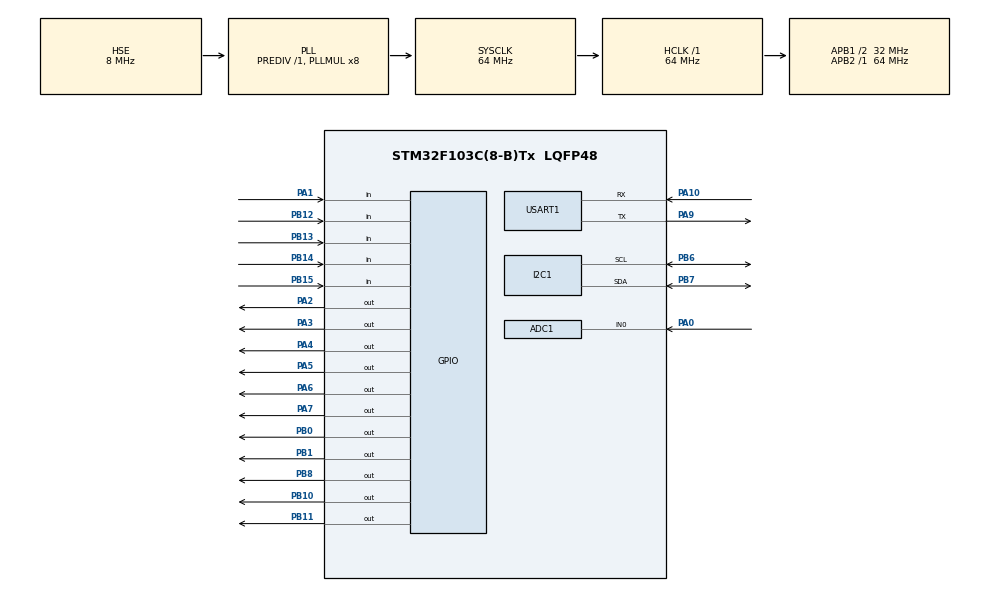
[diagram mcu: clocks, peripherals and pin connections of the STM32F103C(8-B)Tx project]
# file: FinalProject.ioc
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ADC1.Channel-0\#ChannelRegularConversion=ADC_CHANNEL_0
ADC1.NbrOfConversion=1
ADC1.NbrOfConversionFlag=1
ADC1.Rank-0\#ChannelRegularConversion=1
ADC1.SamplingTime-0\#ChannelRegularConversion=ADC_SAMPLETIME_71CYCLES_5
ADC1.master=1
Mcu.Family=STM32F1
Mcu.Name=STM32F103C(8-B)Tx
Mcu.Package=LQFP48
NVIC.PriorityGroup=NVIC_PRIORITYGROUP_4
PA0-WKUP.Signal=ADCx_IN0
PA1.GPIO_PuPd=GPIO_PULLUP
PA1.Signal=GPIO_Input
PA10.Mode=Asynchronous
PA10.Signal=USART1_RX
PA13.Mode=Serial_Wire
PA13.Signal=SYS_JTMS-SWDIO
PA14.Mode=Serial_Wire
PA14.Signal=SYS_JTCK-SWCLK
PA2.GPIO_ModeDefaultOutputPP=GPIO_MODE_OUTPUT_PP
PA2.GPIO_PuPd=GPIO_NOPULL
PA2.Signal=GPIO_Output
PA3.Signal=GPIO_Output
PA4.Signal=GPIO_Output
PA5.Signal=GPIO_Output
PA6.Signal=GPIO_Output
PA7.Signal=GPIO_Output
PA9.Mode=Asynchronous
PA9.Signal=USART1_TX
PB0.Signal=GPIO_Output
PB1.Signal=GPIO_Output
PB10.Signal=GPIO_Output
PB11.Signal=GPIO_Output
PB12.GPIO_PuPd=GPIO_PULLUP
PB12.Signal=GPIO_Input
PB13.GPIO_PuPd=GPIO_PULLUP
PB13.Signal=GPIO_Input
PB14.GPIO_PuPd=GPIO_PULLUP
PB14.Signal=GPIO_Input
PB15.GPIO_PuPd=GPIO_PULLUP
PB15.Signal=GPIO_Input
PB6.Mode=I2C
PB6.Signal=I2C1_SCL
PB7.Mode=I2C
PB7.Signal=I2C1_SDA
PB8.Signal=GPIO_Output
PD0-OSC_IN.Mode=HSE-External-Oscillator
PD0-OSC_IN.Signal=RCC_OSC_IN
PD1-OSC_OUT.Mode=HSE-External-Oscillator
PD1-OSC_OUT.Signal=RCC_OSC_OUT
ProjectManager.HeapSize=0x200
ProjectManager.StackSize=0x400
ProjectManager.TargetToolchain=STM32CubeIDE
RCC.ADCPresc=RCC_ADCPCLK2_DIV6
RCC.AHBFreq_Value=64000000
RCC.APB1CLKDivider=RCC_HCLK_DIV2
RCC.APB1Freq_Value=32000000
RCC.APB1TimFreq_Value=64000000
RCC.APB2Freq_Value=64000000
RCC.APB2TimFreq_Value=64000000
RCC.HCLKFreq_Value=64000000
RCC.PLLMUL=RCC_PLL_MUL8
RCC.PLLSourceVirtual=RCC_PLLSOURCE_HSE
RCC.SYSCLKFreq_VALUE=64000000
RCC.SYSCLKSource=RCC_SYSCLKSOURCE_PLLCLK
RCC.USBFreq_Value=64000000
SH.ADCx_IN0.0=ADC1_IN0,IN0
TIM2.Prescaler=71
USART1.VirtualMode=VM_ASYNC
VP_TIM2_VS_ClockSourceINT.Mode=Internal
board=custom

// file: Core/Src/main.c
/* USER CODE BEGIN Header */
/**
 ******************************************************************************
 * @file           : main.c
 * @brief          : Main program body - Smart clothes drying rack
 ******************************************************************************
 */
/* USER CODE END Header */
#include "main.h"

/* USER CODE BEGIN Includes */
#include "system_state.h"
#include "sensor1.h"
#include "stepper.h"
#include "actuator.h"
#include "logic.h"
#include "keypad1.h"
#include "display1.h"
#include "lcd_i2c.h"
#include "uart_cli.h"
/* USER CODE END Includes */

ADC_HandleTypeDef hadc1;

I2C_HandleTypeDef hi2c1;

TIM_HandleTypeDef htim2;

UART_HandleTypeDef huart1;

void SystemClock_Config(void);
static void MX_GPIO_Init(void);
static void MX_I2C1_Init(void);
static void MX_TIM2_Init(void);
static void MX_ADC1_Init(void);
static void MX_USART1_UART_Init(void);

int main(void)
{

  /* MCU Configuration--------------------------------------------------------*/

  /* Reset of all peripherals, Initializes the Flash interface and the Systick. */
  HAL_Init();

  /* Configure the system clock */
  SystemClock_Config();

  /* Initialize all configured peripherals */
  MX_GPIO_Init();
  MX_I2C1_Init();
  MX_TIM2_Init();
  MX_ADC1_Init();
  MX_USART1_UART_Init();
  /* USER CODE BEGIN 2 */
  HAL_TIM_Base_Start(&htim2);
  lcd_init();
  	lcd_clear();

  	lcd_put_cur(0, 0);
  	lcd_send_string("SMART DRY RACK");
  	lcd_put_cur(1, 0);
  	lcd_send_string("SYSTEM READY");
  	HAL_Delay(1000);
  	lcd_clear();
  	 UART_CLI_Init();
  /* USER CODE END 2 */

  /* Infinite loop */
  while (1)
  {

    /* USER CODE BEGIN 3 */
	  /* 1. Bàn phím vật lý — quét liên tục */
	          Keypad_Handle();

	          /* 2. Nhận và xử lý lệnh từ PuTTY — non-blocking */
//	          UART_CLI_HandleRx();

	          /* 3. Điều khiển động cơ bước — non-blocking, edge detection */
	          {
	              uint8_t prev_busy = Stepper_IsBusy();
	              Stepper_Run();

	              if (prev_busy && !Stepper_IsBusy())
	              {
	                  currentState = targetState;
	              }

	              if (!Stepper_IsBusy() && currentState != targetState)
	              {
	                  int dir = (targetState == STATE_THU) ? 1 : -1;
	                  Stepper_Start(STEPPER_STEPS, dir);
	              }
	          }

	          /* 4. Cập nhật cảm biến, logic, LCD, UART mỗi 1 giây */
	          if (HAL_GetTick() - lastUpdate > 1000U)
	          {
	              lastUpdate = HAL_GetTick();

	              Sensor_ReadDHT11(&temp, &humi);
	              adcValue       = Sensor_ReadLDR();
	              last_isBright  = (adcValue < LIGHT_THRESHOLD) ? 1U : 0U;
	              last_isRaining = Sensor_RainDetect();

	              Logic_UpdateRackState(last_isRaining, last_isBright, humi);
	              Logic_HandleFanAuto(last_isRaining);

	              Actuator_HandleBuzzer(last_isRaining);

	              Display_Update(last_isRaining, last_isBright);

	              /* Cập nhật dashboard PuTTY cùng chu kỳ 1 giây */
	              UART_CLI_Update();
	          }

  }
  /* USER CODE END 3 */
}

void SystemClock_Config(void)
{
  RCC_OscInitTypeDef RCC_OscInitStruct = {0};
  RCC_ClkInitTypeDef RCC_ClkInitStruct = {0};
  RCC_PeriphCLKInitTypeDef PeriphClkInit = {0};

  /** Initializes the RCC Oscillators according to the specified parameters
  * in the RCC_OscInitTypeDef structure.
  */
  RCC_OscInitStruct.OscillatorType = RCC_OSCILLATORTYPE_HSE;
  RCC_OscInitStruct.HSEState = RCC_HSE_ON;
  RCC_OscInitStruct.HSEPredivValue = RCC_HSE_PREDIV_DIV1;
  RCC_OscInitStruct.HSIState = RCC_HSI_ON;
  RCC_OscInitStruct.PLL.PLLState = RCC_PLL_ON;
  RCC_OscInitStruct.PLL.PLLSource = RCC_PLLSOURCE_HSE;
  RCC_OscInitStruct.PLL.PLLMUL = RCC_PLL_MUL8;
  if (HAL_RCC_OscConfig(&RCC_OscInitStruct) != HAL_OK)
  {
    Error_Handler();
  }
  /** Initializes the CPU, AHB and APB buses clocks
  */
  RCC_ClkInitStruct.ClockType = RCC_CLOCKTYPE_HCLK|RCC_CLOCKTYPE_SYSCLK
                              |RCC_CLOCKTYPE_PCLK1|RCC_CLOCKTYPE_PCLK2;
  RCC_ClkInitStruct.SYSCLKSource = RCC_SYSCLKSOURCE_PLLCLK;
  RCC_ClkInitStruct.AHBCLKDivider = RCC_SYSCLK_DIV1;
  RCC_ClkInitStruct.APB1CLKDivider = RCC_HCLK_DIV2;
  RCC_ClkInitStruct.APB2CLKDivider = RCC_HCLK_DIV1;

  if (HAL_RCC_ClockConfig(&RCC_ClkInitStruct, FLASH_LATENCY_2) != HAL_OK)
  {
    Error_Handler();
  }
  PeriphClkInit.PeriphClockSelection = RCC_PERIPHCLK_ADC;
  PeriphClkInit.AdcClockSelection = RCC_ADCPCLK2_DIV6;
  if (HAL_RCCEx_PeriphCLKConfig(&PeriphClkInit) != HAL_OK)
  {
    Error_Handler();
  }
}

static void MX_ADC1_Init(void)
{

  ADC_ChannelConfTypeDef sConfig = {0};

  /** Common config
  */
  hadc1.Instance = ADC1;
  hadc1.Init.ScanConvMode = ADC_SCAN_DISABLE;
  hadc1.Init.ContinuousConvMode = DISABLE;
  hadc1.Init.DiscontinuousConvMode = DISABLE;
  hadc1.Init.ExternalTrigConv = ADC_SOFTWARE_START;
  hadc1.Init.DataAlign = ADC_DATAALIGN_RIGHT;
  hadc1.Init.NbrOfConversion = 1;
  if (HAL_ADC_Init(&hadc1) != HAL_OK)
  {
    Error_Handler();
  }
  /** Configure Regular Channel
  */
  sConfig.Channel = ADC_CHANNEL_0;
  sConfig.Rank = ADC_REGULAR_RANK_1;
  sConfig.SamplingTime = ADC_SAMPLETIME_71CYCLES_5;
  if (HAL_ADC_ConfigChannel(&hadc1, &sConfig) != HAL_OK)
  {
    Error_Handler();
  }

}

static void MX_I2C1_Init(void)
{

  hi2c1.Instance = I2C1;
  hi2c1.Init.ClockSpeed = 100000;
  hi2c1.Init.DutyCycle = I2C_DUTYCYCLE_2;
  hi2c1.Init.OwnAddress1 = 0;
  hi2c1.Init.AddressingMode = I2C_ADDRESSINGMODE_7BIT;
  hi2c1.Init.DualAddressMode = I2C_DUALADDRESS_DISABLE;
  hi2c1.Init.OwnAddress2 = 0;
  hi2c1.Init.GeneralCallMode = I2C_GENERALCALL_DISABLE;
  hi2c1.Init.NoStretchMode = I2C_NOSTRETCH_DISABLE;
  if (HAL_I2C_Init(&hi2c1) != HAL_OK)
  {
    Error_Handler();
  }

}

static void MX_TIM2_Init(void)
{

  TIM_ClockConfigTypeDef sClockSourceConfig = {0};
  TIM_MasterConfigTypeDef sMasterConfig = {0};

  htim2.Instance = TIM2;
  htim2.Init.Prescaler = 71;
  htim2.Init.CounterMode = TIM_COUNTERMODE_UP;
  htim2.Init.Period = 65535;
  htim2.Init.ClockDivision = TIM_CLOCKDIVISION_DIV1;
  htim2.Init.AutoReloadPreload = TIM_AUTORELOAD_PRELOAD_DISABLE;
  if (HAL_TIM_Base_Init(&htim2) != HAL_OK)
  {
    Error_Handler();
  }
  sClockSourceConfig.ClockSource = TIM_CLOCKSOURCE_INTERNAL;
  if (HAL_TIM_ConfigClockSource(&htim2, &sClockSourceConfig) != HAL_OK)
  {
    Error_Handler();
  }
  sMasterConfig.MasterOutputTrigger = TIM_TRGO_RESET;
  sMasterConfig.MasterSlaveMode = TIM_MASTERSLAVEMODE_DISABLE;
  if (HAL_TIMEx_MasterConfigSynchronization(&htim2, &sMasterConfig) != HAL_OK)
  {
    Error_Handler();
  }

}

static void MX_USART1_UART_Init(void)
{

  huart1.Instance = USART1;
  huart1.Init.BaudRate = 115200;
  huart1.Init.WordLength = UART_WORDLENGTH_8B;
  huart1.Init.StopBits = UART_STOPBITS_1;
  huart1.Init.Parity = UART_PARITY_NONE;
  huart1.Init.Mode = UART_MODE_TX_RX;
  huart1.Init.HwFlowCtl = UART_HWCONTROL_NONE;
  huart1.Init.OverSampling = UART_OVERSAMPLING_16;
  if (HAL_UART_Init(&huart1) != HAL_OK)
  {
    Error_Handler();
  }

}

static void MX_GPIO_Init(void)
{
  GPIO_InitTypeDef GPIO_InitStruct = {0};

  /* GPIO Ports Clock Enable */
  __HAL_RCC_GPIOD_CLK_ENABLE();
  __HAL_RCC_GPIOA_CLK_ENABLE();
  __HAL_RCC_GPIOB_CLK_ENABLE();

  /*Configure GPIO pin Output Level */
  HAL_GPIO_WritePin(GPIOA, GPIO_PIN_2|GPIO_PIN_3|GPIO_PIN_4|GPIO_PIN_5
                          |GPIO_PIN_6|GPIO_PIN_7, GPIO_PIN_RESET);

  /*Configure GPIO pin Output Level */
  HAL_GPIO_WritePin(GPIOB, GPIO_PIN_0|GPIO_PIN_1|GPIO_PIN_10|GPIO_PIN_11
                          |GPIO_PIN_8, GPIO_PIN_RESET);

  /*Configure GPIO pin : PA1 */
  GPIO_InitStruct.Pin = GPIO_PIN_1;
  GPIO_InitStruct.Mode = GPIO_MODE_INPUT;
  GPIO_InitStruct.Pull = GPIO_PULLUP;
  HAL_GPIO_Init(GPIOA, &GPIO_InitStruct);

  /*Configure GPIO pins : PA2 PA3 PA4 PA5
                           PA6 PA7 */
  GPIO_InitStruct.Pin = GPIO_PIN_2|GPIO_PIN_3|GPIO_PIN_4|GPIO_PIN_5
                          |GPIO_PIN_6|GPIO_PIN_7;
  GPIO_InitStruct.Mode = GPIO_MODE_OUTPUT_PP;
  GPIO_InitStruct.Pull = GPIO_NOPULL;
  GPIO_InitStruct.Speed = GPIO_SPEED_FREQ_LOW;
  HAL_GPIO_Init(GPIOA, &GPIO_InitStruct);

  /*Configure GPIO pins : PB0 PB1 PB10 PB11
                           PB8 */
  GPIO_InitStruct.Pin = GPIO_PIN_0|GPIO_PIN_1|GPIO_PIN_10|GPIO_PIN_11
                          |GPIO_PIN_8;
  GPIO_InitStruct.Mode = GPIO_MODE_OUTPUT_PP;
  GPIO_InitStruct.Pull = GPIO_NOPULL;
  GPIO_InitStruct.Speed = GPIO_SPEED_FREQ_LOW;
  HAL_GPIO_Init(GPIOB, &GPIO_InitStruct);

  /*Configure GPIO pins : PB12 PB13 PB14 PB15 */
  GPIO_InitStruct.Pin = GPIO_PIN_12|GPIO_PIN_13|GPIO_PIN_14|GPIO_PIN_15;
  GPIO_InitStruct.Mode = GPIO_MODE_INPUT;
  GPIO_InitStruct.Pull = GPIO_PULLUP;
  HAL_GPIO_Init(GPIOB, &GPIO_InitStruct);

}

void Error_Handler(void)
{
  __disable_irq();
  while (1)
  {
  }
}

/************************ (C) COPYRIGHT STMicroelectronics *****END OF FILE****/
